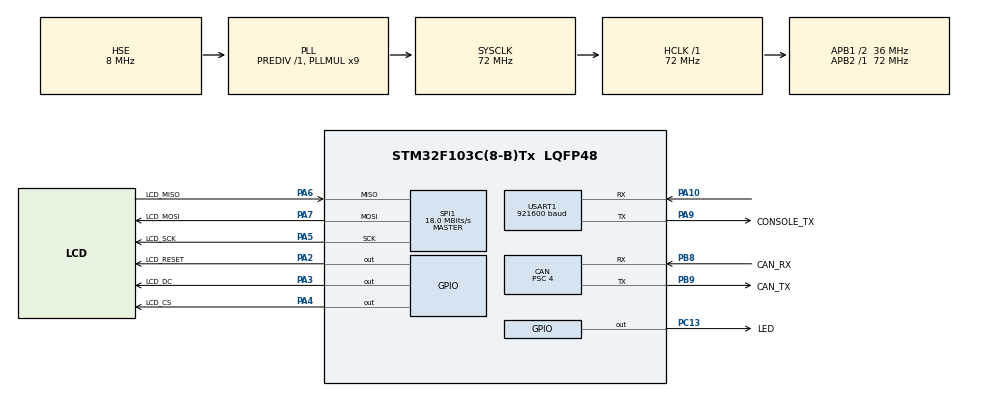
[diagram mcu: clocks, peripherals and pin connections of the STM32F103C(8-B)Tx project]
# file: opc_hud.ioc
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CAN.BS1=CAN_BS1_14TQ
CAN.BS2=CAN_BS2_3TQ
CAN.CalculateBaudRate=500000
CAN.CalculateTimeBit=2000
CAN.CalculateTimeQuantum=111.11111111111111
CAN.Prescaler=4
CAN.SJW=CAN_SJW_3TQ
Mcu.Family=STM32F1
Mcu.Name=STM32F103C(8-B)Tx
Mcu.Package=LQFP48
NVIC.PriorityGroup=NVIC_PRIORITYGROUP_4
NVIC.TIM2_IRQn=true\:0\:0\:false\:false\:true\:true\:true
NVIC.USB_LP_CAN1_RX0_IRQn=true\:0\:0\:false\:false\:true\:true\:true
PA10.Mode=Asynchronous
PA10.Signal=USART1_RX
PA13.Mode=Serial_Wire
PA13.Signal=SYS_JTMS-SWDIO
PA14.Mode=Serial_Wire
PA14.Signal=SYS_JTCK-SWCLK
PA2.GPIO_Label=LCD_RESET
PA2.Signal=GPIO_Output
PA3.GPIO_Label=LCD_DC
PA3.Signal=GPIO_Output
PA4.GPIO_Label=LCD_CS
PA4.Signal=GPIO_Output
PA5.GPIO_Label=LCD_SCK
PA5.Mode=Full_Duplex_Master
PA5.Signal=SPI1_SCK
PA6.GPIO_Label=LCD_MISO
PA6.Mode=Full_Duplex_Master
PA6.Signal=SPI1_MISO
PA7.GPIO_Label=LCD_MOSI
PA7.Mode=Full_Duplex_Master
PA7.Signal=SPI1_MOSI
PA9.GPIO_Label=CONSOLE_TX
PA9.Mode=Asynchronous
PA9.Signal=USART1_TX
PB8.GPIO_Label=CAN_RX
PB8.Mode=CAN_Activate
PB8.Signal=CAN_RX
PB9.GPIO_Label=CAN_TX
PB9.Mode=CAN_Activate
PB9.Signal=CAN_TX
PC13-TAMPER-RTC.GPIO_Label=LED
PC13-TAMPER-RTC.Signal=GPIO_Output
PD0-OSC_IN.Mode=HSE-External-Oscillator
PD0-OSC_IN.Signal=RCC_OSC_IN
PD1-OSC_OUT.Mode=HSE-External-Oscillator
PD1-OSC_OUT.Signal=RCC_OSC_OUT
ProjectManager.HeapSize=0x200
ProjectManager.StackSize=0x400
ProjectManager.TargetToolchain=Makefile
RCC.AHBFreq_Value=72000000
RCC.APB1CLKDivider=RCC_HCLK_DIV2
RCC.APB1Freq_Value=36000000
RCC.APB1TimFreq_Value=72000000
RCC.APB2Freq_Value=72000000
RCC.APB2TimFreq_Value=72000000
RCC.HCLKFreq_Value=72000000
RCC.PLLMUL=RCC_PLL_MUL9
RCC.PLLSourceVirtual=RCC_PLLSOURCE_HSE
RCC.SYSCLKFreq_VALUE=72000000
RCC.SYSCLKSource=RCC_SYSCLKSOURCE_PLLCLK
RCC.USBFreq_Value=72000000
SPI1.BaudRatePrescaler=SPI_BAUDRATEPRESCALER_4
SPI1.CalculateBaudRate=18.0 MBits/s
SPI1.Direction=SPI_DIRECTION_2LINES
SPI1.Mode=SPI_MODE_MASTER
SPI1.VirtualType=VM_MASTER
TIM2.AutoReloadPreload=TIM_AUTORELOAD_PRELOAD_ENABLE
TIM2.Period=2000
TIM2.Prescaler=3600
USART1.BaudRate=921600
USART1.Mode=MODE_TX
USART1.VirtualMode=VM_ASYNC
VP_TIM2_VS_ClockSourceINT.Mode=Internal
board=custom

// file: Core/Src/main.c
/* USER CODE BEGIN Header */
/**
  ******************************************************************************
  * @file           : main.c
  * @brief          : Main program body
  ******************************************************************************
  * @attention
  *
  * Copyright (c) 2023 STMicroelectronics.
  * All rights reserved.
  *
  * This software is licensed under terms that can be found in the LICENSE file
  * in the root directory of this software component.
  * If no LICENSE file comes with this software, it is provided AS-IS.
  *
  ******************************************************************************
  */
/* USER CODE END Header */
#include "main.h"

/* USER CODE BEGIN Includes */

#include <stdio.h>

#include "ili9341.h"

/* USER CODE END Includes */

/* USER CODE BEGIN PD */

// CAN define
#define CAN_ECU_REPLY_ID      0x7E8
#define CAN_ECU_DATA_REPLY_ID 0x5E8

/* USER CODE END PD */

CAN_HandleTypeDef hcan;

SPI_HandleTypeDef hspi1;

TIM_HandleTypeDef htim2;

UART_HandleTypeDef huart1;

/* USER CODE BEGIN PV */

int16_t water_temp    = 0;
int16_t intake_temp   = 0;
float engine_speed    = 0.0;
uint8_t vehicle_speed = 0;
float MAF             = 0.0;

/* USER CODE END PV */

void SystemClock_Config(void);
static void MX_GPIO_Init(void);
static void MX_CAN_Init(void);
static void MX_SPI1_Init(void);
static void MX_USART1_UART_Init(void);
static void MX_TIM2_Init(void);
/* USER CODE BEGIN PFP */

int _write(int fd, char* ptr, int len);
void CAN_RX_Callback(CAN_HandleTypeDef *hcan);

/* USER CODE END PFP */

int main(void)
{

  /* MCU Configuration--------------------------------------------------------*/

  /* Reset of all peripherals, Initializes the Flash interface and the Systick. */
  HAL_Init();

  /* Configure the system clock */
  SystemClock_Config();

  /* Initialize all configured peripherals */
  MX_GPIO_Init();
  MX_CAN_Init();
  MX_SPI1_Init();
  MX_USART1_UART_Init();
  MX_TIM2_Init();
  /* USER CODE BEGIN 2 */

  /* LCD configuration ****************************************************************************/
  ILI9341_Configure(&hspi1);

  /* CAN configuration ****************************************************************************/
  CAN_FilterTypeDef FilterConfig;
  FilterConfig.FilterIdHigh         = CAN_ECU_REPLY_ID << 5;
  FilterConfig.FilterIdLow          = 0x0000;
  FilterConfig.FilterMaskIdHigh     = 0xFFE0;
  FilterConfig.FilterMaskIdLow      = 0x0000;
  FilterConfig.FilterFIFOAssignment = CAN_FILTER_FIFO0;
  FilterConfig.FilterBank           = 0;
  FilterConfig.FilterMode           = CAN_FILTERMODE_IDMASK;
  FilterConfig.FilterScale          = CAN_FILTERSCALE_32BIT;
  FilterConfig.FilterActivation     = CAN_FILTER_ENABLE;
  if (HAL_CAN_ConfigFilter(&hcan, &FilterConfig) != HAL_OK)
  {
    Error_Handler();
  }

  FilterConfig.FilterIdHigh         = CAN_ECU_DATA_REPLY_ID << 5;
  FilterConfig.FilterBank           = 1;
  if (HAL_CAN_ConfigFilter(&hcan, &FilterConfig) != HAL_OK)
  {
    Error_Handler();
  }

  HAL_CAN_CallbackIDTypeDef Callback_ID = HAL_CAN_RX_FIFO0_MSG_PENDING_CB_ID;
  if (HAL_CAN_RegisterCallback(&hcan, Callback_ID, CAN_RX_Callback) != HAL_OK)
  {
    Error_Handler();
  }

  if (HAL_CAN_ActivateNotification(&hcan, CAN_IT_RX_FIFO0_MSG_PENDING) != HAL_OK)
  {
    Error_Handler();
  }

  if (HAL_CAN_Start(&hcan) != HAL_OK)
  {
    Error_Handler();
  }

  /* Timer configuration for 10Hz interrupt *******************************************************/
  if (HAL_TIM_Base_Start_IT(&htim2) != HAL_OK)
  {
    Error_Handler();
  }

  /* LED configuration (switch off) ***************************************************************/
  HAL_GPIO_WritePin(LED_GPIO_Port, LED_Pin, GPIO_PIN_SET);

  /* Variables ************************************************************************************/
  int16_t boost                   = 0;
  int16_t filtered_boost          = 0;
  float previous_engine_speed     = 0.0;
  float previous_MAF              = 0.0;
  uint8_t previous_vehicle_speed  = 255;
  int16_t previous_water_temp     = 32767;
  int16_t previous_intake_temp    = 32767;
  int16_t previous_filtered_boost = 32767;

  /* USER CODE END 2 */

  /* Infinite loop */
  while (1)
  {

    /* USER CODE BEGIN 3 */

    // Intake pressure (P in bar) is computed from formula PV=nRT depending on:
    // - Air flow rate (MAF in g/s)
    // - Intake air temperature (IAT in °C)
    // - Engine speed (RPM in rpm)
    // - Engine size constant (C in cm3) = 1998
    // - Air molar mass constant (M) = 28.9645
    // - Ideal gas constant (R in J/k*mol) = 8.314
    //
    // P = ((MAF * 60) / (RPM / 2 * C * M * 10^-6)) * R * (IAT + 273.15) * 10^-5
    if (previous_engine_speed != engine_speed || previous_MAF != MAF)
    {
      if (engine_speed > 0.0)
      {
        boost = (int16_t)(MAF / engine_speed * ((float)(intake_temp) + 273.15) * 17.2397022247) - 100;
        filtered_boost = filtered_boost + 0.8 * (boost - filtered_boost);
      }
      else
      {
        filtered_boost = 0;
      }

      previous_engine_speed = engine_speed;
      previous_MAF = MAF;
    }

    if (vehicle_speed != previous_vehicle_speed)
    {
      ILI9341_Draw_Vehicle_Speed(&hspi1, vehicle_speed);
      previous_vehicle_speed = vehicle_speed;
    }

    if (water_temp != previous_water_temp)
    {
      ILI9341_Draw_Water_Temp(&hspi1, water_temp);
      previous_water_temp = water_temp;
    }

    if (intake_temp != previous_intake_temp)
    {
      ILI9341_Draw_Intake_Temp(&hspi1, intake_temp);
      previous_intake_temp = intake_temp;
    }

    if (filtered_boost != previous_filtered_boost)
    {
      ILI9341_Draw_Boost(&hspi1, filtered_boost);
      previous_filtered_boost = filtered_boost;
    }
  }
  /* USER CODE END 3 */
}

void SystemClock_Config(void)
{
  RCC_OscInitTypeDef RCC_OscInitStruct = {0};
  RCC_ClkInitTypeDef RCC_ClkInitStruct = {0};

  /** Initializes the RCC Oscillators according to the specified parameters
  * in the RCC_OscInitTypeDef structure.
  */
  RCC_OscInitStruct.OscillatorType = RCC_OSCILLATORTYPE_HSE;
  RCC_OscInitStruct.HSEState = RCC_HSE_ON;
  RCC_OscInitStruct.HSEPredivValue = RCC_HSE_PREDIV_DIV1;
  RCC_OscInitStruct.HSIState = RCC_HSI_ON;
  RCC_OscInitStruct.PLL.PLLState = RCC_PLL_ON;
  RCC_OscInitStruct.PLL.PLLSource = RCC_PLLSOURCE_HSE;
  RCC_OscInitStruct.PLL.PLLMUL = RCC_PLL_MUL9;
  if (HAL_RCC_OscConfig(&RCC_OscInitStruct) != HAL_OK)
  {
    Error_Handler();
  }
  /** Initializes the CPU, AHB and APB buses clocks
  */
  RCC_ClkInitStruct.ClockType = RCC_CLOCKTYPE_HCLK|RCC_CLOCKTYPE_SYSCLK
                              |RCC_CLOCKTYPE_PCLK1|RCC_CLOCKTYPE_PCLK2;
  RCC_ClkInitStruct.SYSCLKSource = RCC_SYSCLKSOURCE_PLLCLK;
  RCC_ClkInitStruct.AHBCLKDivider = RCC_SYSCLK_DIV1;
  RCC_ClkInitStruct.APB1CLKDivider = RCC_HCLK_DIV2;
  RCC_ClkInitStruct.APB2CLKDivider = RCC_HCLK_DIV1;

  if (HAL_RCC_ClockConfig(&RCC_ClkInitStruct, FLASH_LATENCY_2) != HAL_OK)
  {
    Error_Handler();
  }
}

static void MX_CAN_Init(void)
{

  hcan.Instance = CAN1;
  hcan.Init.Prescaler = 4;
  hcan.Init.Mode = CAN_MODE_NORMAL;
  hcan.Init.SyncJumpWidth = CAN_SJW_3TQ;
  hcan.Init.TimeSeg1 = CAN_BS1_14TQ;
  hcan.Init.TimeSeg2 = CAN_BS2_3TQ;
  hcan.Init.TimeTriggeredMode = DISABLE;
  hcan.Init.AutoBusOff = DISABLE;
  hcan.Init.AutoWakeUp = DISABLE;
  hcan.Init.AutoRetransmission = DISABLE;
  hcan.Init.ReceiveFifoLocked = DISABLE;
  hcan.Init.TransmitFifoPriority = DISABLE;
  if (HAL_CAN_Init(&hcan) != HAL_OK)
  {
    Error_Handler();
  }

}

static void MX_SPI1_Init(void)
{

  /* SPI1 parameter configuration*/
  hspi1.Instance = SPI1;
  hspi1.Init.Mode = SPI_MODE_MASTER;
  hspi1.Init.Direction = SPI_DIRECTION_2LINES;
  hspi1.Init.DataSize = SPI_DATASIZE_8BIT;
  hspi1.Init.CLKPolarity = SPI_POLARITY_LOW;
  hspi1.Init.CLKPhase = SPI_PHASE_1EDGE;
  hspi1.Init.NSS = SPI_NSS_SOFT;
  hspi1.Init.BaudRatePrescaler = SPI_BAUDRATEPRESCALER_4;
  hspi1.Init.FirstBit = SPI_FIRSTBIT_MSB;
  hspi1.Init.TIMode = SPI_TIMODE_DISABLE;
  hspi1.Init.CRCCalculation = SPI_CRCCALCULATION_DISABLE;
  hspi1.Init.CRCPolynomial = 10;
  if (HAL_SPI_Init(&hspi1) != HAL_OK)
  {
    Error_Handler();
  }

}

static void MX_TIM2_Init(void)
{

  TIM_ClockConfigTypeDef sClockSourceConfig = {0};
  TIM_MasterConfigTypeDef sMasterConfig = {0};

  htim2.Instance = TIM2;
  htim2.Init.Prescaler = 3600;
  htim2.Init.CounterMode = TIM_COUNTERMODE_UP;
  htim2.Init.Period = 2000;
  htim2.Init.ClockDivision = TIM_CLOCKDIVISION_DIV1;
  htim2.Init.AutoReloadPreload = TIM_AUTORELOAD_PRELOAD_ENABLE;
  if (HAL_TIM_Base_Init(&htim2) != HAL_OK)
  {
    Error_Handler();
  }
  sClockSourceConfig.ClockSource = TIM_CLOCKSOURCE_INTERNAL;
  if (HAL_TIM_ConfigClockSource(&htim2, &sClockSourceConfig) != HAL_OK)
  {
    Error_Handler();
  }
  sMasterConfig.MasterOutputTrigger = TIM_TRGO_RESET;
  sMasterConfig.MasterSlaveMode = TIM_MASTERSLAVEMODE_DISABLE;
  if (HAL_TIMEx_MasterConfigSynchronization(&htim2, &sMasterConfig) != HAL_OK)
  {
    Error_Handler();
  }

}

static void MX_USART1_UART_Init(void)
{

  huart1.Instance = USART1;
  huart1.Init.BaudRate = 921600;
  huart1.Init.WordLength = UART_WORDLENGTH_8B;
  huart1.Init.StopBits = UART_STOPBITS_1;
  huart1.Init.Parity = UART_PARITY_NONE;
  huart1.Init.Mode = UART_MODE_TX;
  huart1.Init.HwFlowCtl = UART_HWCONTROL_NONE;
  huart1.Init.OverSampling = UART_OVERSAMPLING_16;
  if (HAL_UART_Init(&huart1) != HAL_OK)
  {
    Error_Handler();
  }

}

static void MX_GPIO_Init(void)
{
  GPIO_InitTypeDef GPIO_InitStruct = {0};

  /* GPIO Ports Clock Enable */
  __HAL_RCC_GPIOC_CLK_ENABLE();
  __HAL_RCC_GPIOD_CLK_ENABLE();
  __HAL_RCC_GPIOA_CLK_ENABLE();
  __HAL_RCC_GPIOB_CLK_ENABLE();

  /*Configure GPIO pin Output Level */
  HAL_GPIO_WritePin(LED_GPIO_Port, LED_Pin, GPIO_PIN_RESET);

  /*Configure GPIO pin Output Level */
  HAL_GPIO_WritePin(GPIOA, LCD_RESET_Pin|LCD_DC_Pin|LCD_CS_Pin, GPIO_PIN_RESET);

  /*Configure GPIO pin : LED_Pin */
  GPIO_InitStruct.Pin = LED_Pin;
  GPIO_InitStruct.Mode = GPIO_MODE_OUTPUT_PP;
  GPIO_InitStruct.Pull = GPIO_NOPULL;
  GPIO_InitStruct.Speed = GPIO_SPEED_FREQ_LOW;
  HAL_GPIO_Init(LED_GPIO_Port, &GPIO_InitStruct);

  /*Configure GPIO pins : LCD_RESET_Pin LCD_DC_Pin LCD_CS_Pin */
  GPIO_InitStruct.Pin = LCD_RESET_Pin|LCD_DC_Pin|LCD_CS_Pin;
  GPIO_InitStruct.Mode = GPIO_MODE_OUTPUT_PP;
  GPIO_InitStruct.Pull = GPIO_NOPULL;
  GPIO_InitStruct.Speed = GPIO_SPEED_FREQ_LOW;
  HAL_GPIO_Init(GPIOA, &GPIO_InitStruct);

}

/* USER CODE BEGIN 4 */

int _write(int fd, char* ptr, int len) {
    HAL_UART_Transmit(&huart1, (uint8_t *) ptr, len, HAL_MAX_DELAY);
    return len;
}

void CAN_RX_Callback(CAN_HandleTypeDef *hcan)
{
  CAN_RxHeaderTypeDef CAN_Header;
  uint8_t CAN_Payload[8];

  HAL_CAN_GetRxMessage(hcan, CAN_RX_FIFO0, &CAN_Header, CAN_Payload);

  //printf("StdId: %ld, DLC: %ld, Payload: %d, %d, %d, %d, %d, %d, %d, %d\n", CAN_Header.StdId, CAN_Header.DLC, CAN_Payload[0], CAN_Payload[1], CAN_Payload[2], CAN_Payload[3], CAN_Payload[4], CAN_Payload[5], CAN_Payload[6], CAN_Payload[7]);

  if (CAN_Header.StdId == CAN_ECU_REPLY_ID)
  {
    switch (CAN_Payload[2])
    {
      case 0x05:
        water_temp = (int16_t)(CAN_Payload[3]) - 40;
        break;

      case 0x0C:
        engine_speed = (((float)(CAN_Payload[3]) * 256.0) + (float)(CAN_Payload[4])) / 4.0;
        break;

      case 0x0D:
        vehicle_speed = CAN_Payload[3];
        break;

      case 0x0F:
        intake_temp = (int16_t)(CAN_Payload[3]) - 40;
        break;

      case 0x10:
        MAF = (((float)(CAN_Payload[3]) * 256.0) + (float)(CAN_Payload[4])) / 100.0;
        break;
    }
  }
}

/* USER CODE END 4 */

void Error_Handler(void)
{
  /* USER CODE BEGIN Error_Handler_Debug */
  /* User can add his own implementation to report the HAL error return state */
  __disable_irq();

  printf("An error occured\n");

  while (1)
  {
  }
  /* USER CODE END Error_Handler_Debug */
}

#ifdef  USE_FULL_ASSERT
/**
  * @brief  Reports the name of the source file and the source line number
  *         where the assert_param error has occurred.
  * @param  file: pointer to the source file name
  * @param  line: assert_param error line source number
  * @retval None
  */
void assert_failed(uint8_t *file, uint32_t line)
{
  /* USER CODE BEGIN 6 */
  printf("Wrong parameters value: file %s on line %d\n", file, line);
  /* USER CODE END 6 */
}
#endif /* USE_FULL_ASSERT */
